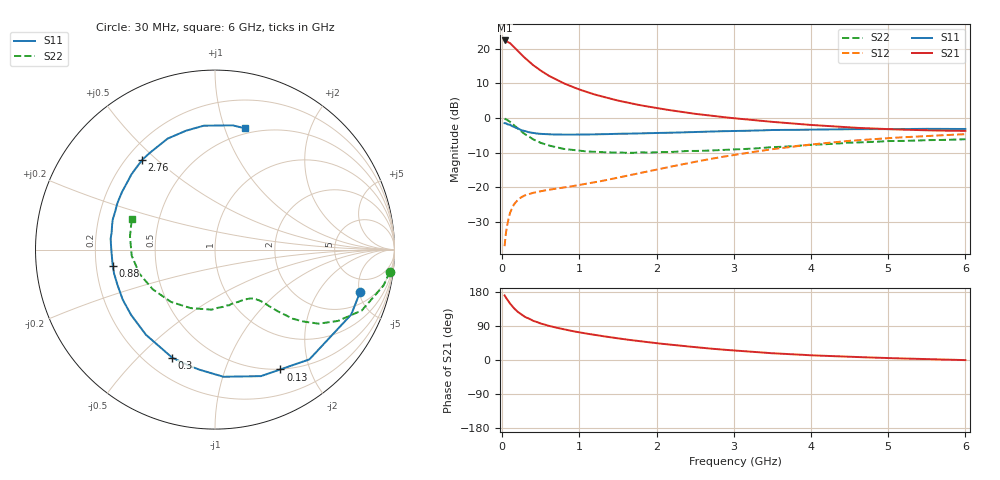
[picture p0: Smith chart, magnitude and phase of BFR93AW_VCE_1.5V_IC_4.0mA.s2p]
! Infineon Technologies  Discrete & RF Semiconductors
! BFR93AW
! VCE =  1.5 V,  IC =  4.0 mA
! Common Emitter S-Parameters:  Nov 2015
# GHz  S  MA  R  50
!  f  S11  S21  S12  S22
! GHz  MAG  ANG  MAG  ANG  MAG  ANG  MAG  ANG
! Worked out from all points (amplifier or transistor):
!   206 points, 30 MHz to 6 GHz, reference 50 ohm
!   highest |S21| = 22.4 dB at 30 MHz (marker M1)
!   |S21| within 3 dB of that: start of sweep to 201.5 MHz
!   unconditionally stable (mu >= 1): 986 MHz to 2.555 GHz
!   at 200 MHz: K = 0.26, MSG = 21.5 dB, |S12| = -23.6 dB
!   at 1.56 GHz: K = 1.13, MAG = 8.7 dB, |S12| = -16.9 dB
!   at 6 GHz: K = 0.98, MSG = 0.5 dB, |S12| = -4.6 dB
!   S11 on the Smith chart (normalised r, x): 30 MHz: 3.14, -5.11; 130 MHz: 0.50, -1.57; 300 MHz: 0.31, -0.64; 880 MHz: 0.27, -0.07; 2.76 GHz: 0.26, +0.45; 6 GHz: 0.45, +1.17
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0.03  0.8425 -16.3  13.15 170.3  0.0142 79.1  0.9815 -7.3
0.05  0.8408 -25.5  13 163.6  0.0231 76.7  0.9603 -12.0
0.1  0.8067 -49.3  12.05 148.9  0.0429 65.7  0.8855 -22.5
0.13  0.7605 -61.4  11.14 141.9  0.051 59.4  0.8279 -26.9
0.15  0.7501 -70.0  10.63 136.6  0.0566 56.2  0.7925 -30.1
0.2  0.7101 -86.2  9.345 127.1  0.0659 50.3  0.7091 -35.6
0.26  0.6637 -102.3  7.985 118.1  0.0735 45.2  0.6232 -39.7
0.3  0.6476 -111.6  7.241 113.1  0.0774 43.1  0.5785 -41.7
0.4  0.611 -129.0  5.791 103.4  0.0835 40.0  0.4935 -44.4
0.5  0.5924 -142.1  4.817 96.1  0.0882 39.2  0.4375 -46.2
0.6  0.5849 -151.4  4.09 90.3  0.0925 39.3  0.403 -47.3
0.7  0.5781 -159.6  3.578 85.3  0.0958 40.8  0.3786 -48.7
0.88  0.5765 -170.9  2.903 77.6  0.1029 43.4  0.35 -51.5
1.04  0.5768 -179.2  2.49 71.6  0.1105 46.2  0.3343 -54.7
1.2  0.5845 174.0  2.18 66.2  0.1185 49.2  0.3264 -58.4
1.5  0.5939 163.6  1.785 57.2  0.138 53.9  0.3189 -66.4
2.02  0.61 147.6  1.38 43.8  0.1826 58.7  0.3221 -82.3
2.76  0.6423 129.3  1.064 29.0  0.2648 58.3  0.3425 -105.6
3.1  0.653 121.5  0.97 23.7  0.3053 55.9  0.3559 -116.4
4.1  0.683 101.9  0.782 11.7  0.4256 45.2  0.4149 -150.5
5.1  0.693 86.9  0.685 4.5  0.5213 32.1  0.4662 -178.6
6  0.696 76.2  0.653 -0.3  0.5858 21.1  0.4947 159.5
